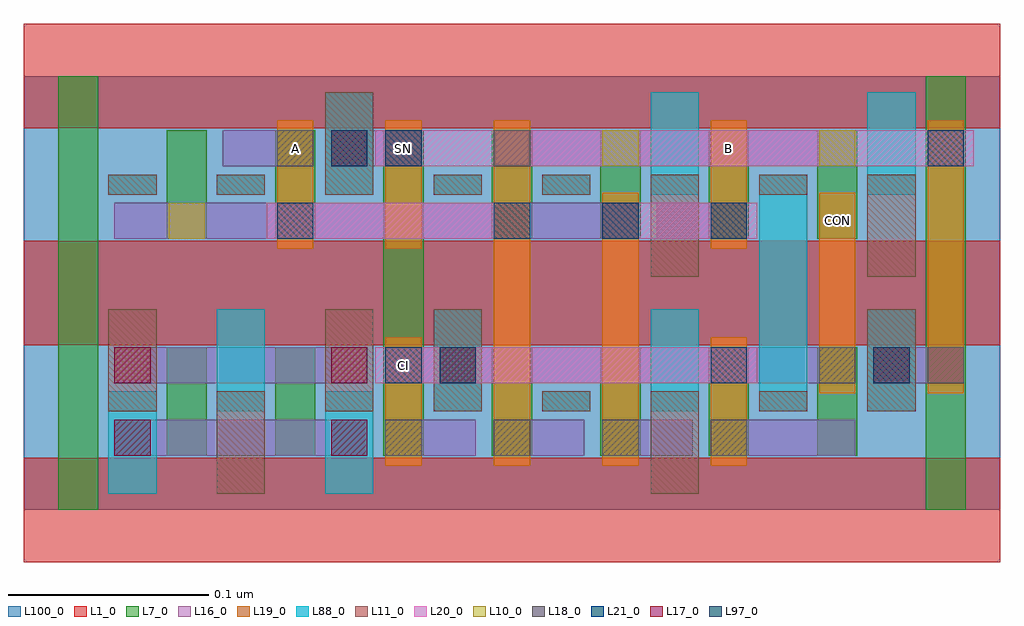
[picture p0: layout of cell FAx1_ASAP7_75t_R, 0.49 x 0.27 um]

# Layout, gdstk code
import gdstk
lib = gdstk.Library(unit=1e-6, precision=2.5e-10)
def R(c, l, rs):  # rectangles x0, y0, x1, y1
    for r in rs: c.add(gdstk.rectangle(r[:2], r[2:], *l))
def A(c, l, x, y, w, h, nx, ny, dx, dy):  # array of equal rectangles
    R(c, l, [(x+i*dx, y+j*dy, x+i*dx+w, y+j*dy+h) for i in range(nx) for j in range(ny)])
L1_0 = (1, 0)
L7_0 = (7, 0)
L10_0 = (10, 0)
L11_0 = (11, 0)
L16_0 = (16, 0)
L17_0 = (17, 0)
L18_0 = (18, 0)
L19_0 = (19, 0)
L20_0 = (20, 0)
L21_0 = (21, 0)
L88_0 = (88, 0)
L97_0 = (97, 0)
L100_0 = (100, 0)

fax1_asap7_75t_r = lib.new_cell('FAx1_ASAP7_75t_R')
A(fax1_asap7_75t_r, L1_0, 0, -0.026, 0.486, 0.052, 1, 3, 0, 0.108)
A(fax1_asap7_75t_r, L7_0, 0.233, 0.027, 0.02, 0.054, 4, 2, 0.054, 0.108)
R(fax1_asap7_75t_r, L7_0, [(0.017,0,0.037,0.108), (0.449,0,0.469,0.108), (0.071,0.027,0.091,0.081), (0.125,0.027,0.145,0.081), (0.179,0.027,0.199,0.108), (0.017,0.108,0.037,0.216), (0.179,0.108,0.199,0.189), (0.449,0.108,0.469,0.216), (0.071,0.135,0.091,0.189), (0.125,0.135,0.145,0.189)])
A(fax1_asap7_75t_r, L10_0, 0.18, 0.027, 0.018, 0.018, 4, 1, 0.054, 0)
R(fax1_asap7_75t_r, L10_0, [(0.396,0.063,0.414,0.081), (0.072,0.135,0.09,0.153), (0.234,0.135,0.252,0.153), (0.342,0.135,0.36,0.153), (0.126,0.171,0.144,0.189), (0.288,0.171,0.306,0.189), (0.396,0.171,0.414,0.189)])
R(fax1_asap7_75t_r, L11_0, [(0.096,0.008,0.12,0.059), (0.312,0.008,0.336,0.059), (0.042,0.049,0.066,0.1), (0.15,0.049,0.174,0.1), (0.204,0.049,0.228,0.1), (0.258,0.049,0.282,0.059), (0.366,0.049,0.39,0.059), (0.42,0.049,0.444,0.1), (0.312,0.116,0.336,0.167), (0.42,0.116,0.444,0.167), (0.042,0.157,0.066,0.167), (0.096,0.157,0.12,0.167), (0.15,0.157,0.174,0.208), (0.204,0.157,0.228,0.167), (0.258,0.157,0.282,0.167), (0.366,0.157,0.39,0.167)])
A(fax1_asap7_75t_r, L16_0, 0.18, 0.027, 0.045, 0.018, 3, 1, 0.054, 0)
R(fax1_asap7_75t_r, L16_0, [(0.045,0.027,0.171,0.045), (0.342,0.027,0.414,0.045), (0.045,0.063,0.171,0.081), (0.18,0.063,0.414,0.081), (0.423,0.063,0.468,0.081), (0.045,0.135,0.306,0.153), (0.315,0.135,0.36,0.153), (0.099,0.171,0.144,0.189), (0.153,0.171,0.198,0.189), (0.234,0.171,0.414,0.189)])
R(fax1_asap7_75t_r, L17_0, [(0.045,0.027,0.063,0.045), (0.153,0.027,0.171,0.045), (0.045,0.063,0.063,0.081), (0.153,0.063,0.171,0.081), (0.207,0.063,0.225,0.081), (0.423,0.063,0.441,0.081), (0.153,0.171,0.171,0.189)])
A(fax1_asap7_75t_r, L18_0, 0.18, 0.027, 0.018, 0.018, 4, 1, 0.054, 0)
A(fax1_asap7_75t_r, L18_0, 0.126, 0.171, 0.018, 0.018, 3, 1, 0.054, 0)
R(fax1_asap7_75t_r, L18_0, [(0.396,0.063,0.414,0.081), (0.45,0.063,0.468,0.081), (0.288,0.135,0.306,0.153), (0.342,0.135,0.36,0.153)])
R(fax1_asap7_75t_r, L19_0, [(0.18,0.022,0.198,0.086), (0.234,0.022,0.252,0.194), (0.288,0.022,0.306,0.158), (0.342,0.022,0.36,0.086), (0.396,0.058,0.414,0.158), (0.45,0.058,0.468,0.194), (0.126,0.13,0.144,0.194), (0.18,0.13,0.198,0.194), (0.342,0.13,0.36,0.194)])
R(fax1_asap7_75t_r, L20_0, [(0.175,0.063,0.365,0.081), (0.121,0.135,0.252,0.153), (0.288,0.135,0.365,0.153), (0.175,0.171,0.473,0.189)])
A(fax1_asap7_75t_r, L21_0, 0.234, 0.135, 0.018, 0.018, 3, 1, 0.054, 0)
R(fax1_asap7_75t_r, L21_0, [(0.18,0.063,0.198,0.081), (0.342,0.063,0.36,0.081), (0.126,0.135,0.144,0.153), (0.18,0.171,0.198,0.189), (0.45,0.171,0.468,0.189)])
A(fax1_asap7_75t_r, L88_0, 0.096, 0.049, 0.024, 0.051, 4, 1, 0.108, 0)
R(fax1_asap7_75t_r, L88_0, [(0.042,0.008,0.066,0.059), (0.15,0.008,0.174,0.059), (0.258,0.049,0.282,0.059), (0.366,0.049,0.39,0.108), (0.366,0.108,0.39,0.167), (0.042,0.157,0.066,0.167), (0.096,0.157,0.12,0.167), (0.15,0.157,0.174,0.208), (0.204,0.157,0.228,0.167), (0.258,0.157,0.282,0.167), (0.312,0.157,0.336,0.208), (0.42,0.157,0.444,0.208)])
R(fax1_asap7_75t_r, L97_0, [(0.207,0.063,0.225,0.081), (0.423,0.063,0.441,0.081), (0.153,0.171,0.171,0.189)])
R(fax1_asap7_75t_r, L100_0, [(0,0,0.486,0.216)])
fax1_asap7_75t_r.add(gdstk.Label('SN', (0.189,0.18), layer=19, texttype=251))
fax1_asap7_75t_r.add(gdstk.Label('CON', (0.405,0.144), layer=19, texttype=251))
fax1_asap7_75t_r.add(gdstk.Label('CI', (0.189,0.072), layer=19, texttype=251))
fax1_asap7_75t_r.add(gdstk.Label('B', (0.351,0.18), layer=19, texttype=251))
fax1_asap7_75t_r.add(gdstk.Label('A', (0.135,0.18), layer=19, texttype=251))

lib.write_gds('FAx1_ASAP7_75t_R.gds')
